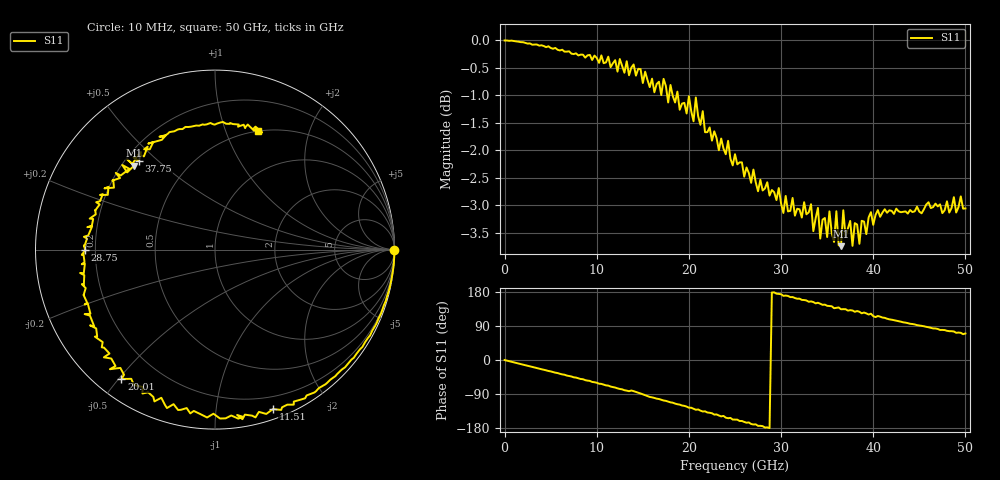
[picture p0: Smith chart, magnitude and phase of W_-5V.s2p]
!Agilent Technologies,N5227A,US51270434,A.10.00.00
!Agilent N5227A: A.10.00.00
!Date: Friday, February 13, 2026 14:20:58
!Correction: S11(Full 1 Port(1))
!S21(Off)
!S12(Off)
!S22(Off)
!S2P File: Measurements: S11, S21, S12, S22:
# Hz S  dB  R 50
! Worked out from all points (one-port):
!   201 points, 10 MHz to 50 GHz, reference 50 ohm
!   lowest |S11| = -3.7 dB at 36.5 GHz (marker M1), VSWR 4.71, Z = 12.4 + j20.2 ohm
!   |S11| at or under -10 dB: nowhere
!   S11 on the Smith chart (normalised r, x): 10 MHz: open; 11.51 GHz: 0.09, -1.42; 20.01 GHz: 0.07, -0.51; 28.75 GHz: 0.16, -0.00; 37.75 GHz: 0.25, +0.43; 50 GHz: 0.50, +1.30
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1e7  -0.00 -0.0  -200.00 45.0  -200.00 45.0  -200.00 45.0
4.0092e9  -0.09 -24.3  -200.00 45.0  -200.00 45.0  -200.00 45.0
8.5083e9  -0.26 -50.7  -200.00 45.0  -200.00 45.0  -200.00 45.0
1.15077e10  -0.49 -70.0  -200.00 45.0  -200.00 45.0  -200.00 45.0
1.35073e10  -0.64 -82.4  -200.00 45.0  -200.00 45.0  -200.00 45.0
1.375725e10  -0.50 -80.5  -200.00 45.0  -200.00 45.0  -200.00 45.0
1.675665e10  -0.75 -103.0  -200.00 45.0  -200.00 45.0  -200.00 45.0
2.0006e10  -1.02 -125.9  -200.00 45.0  -200.00 45.0  -200.00 45.0
2.5005e10  -2.07 -157.1  -200.00 45.0  -200.00 45.0  -200.00 45.0
2.875425e10  -2.82 -179.8  -200.00 45.0  -200.00 45.0  -200.00 45.0
3.125375e10  -2.86 166.1  -200.00 45.0  -200.00 45.0  -200.00 45.0
3.35033e10  -3.47 152.9  -200.00 45.0  -200.00 45.0  -200.00 45.0
3.40032e10  -3.05 151.0  -200.00 45.0  -200.00 45.0  -200.00 45.0
3.65027e10  -3.74 133.9  -200.00 45.0  -200.00 45.0  -200.00 45.0
3.675265e10  -3.09 134.2  -200.00 45.0  -200.00 45.0  -200.00 45.0
3.775245e10  -3.74 130.7  -200.00 45.0  -200.00 45.0  -200.00 45.0
3.975205e10  -3.12 122.2  -200.00 45.0  -200.00 45.0  -200.00 45.0
4.025195e10  -3.17 113.2  -200.00 45.0  -200.00 45.0  -200.00 45.0
4.05019e10  -3.09 116.2  -200.00 45.0  -200.00 45.0  -200.00 45.0
4.175165e10  -3.09 107.2  -200.00 45.0  -200.00 45.0  -200.00 45.0
4.60008e10  -2.94 86.4  -200.00 45.0  -200.00 45.0  -200.00 45.0
5e10  -3.06 70.0  -200.00 45.0  -200.00 45.0  -200.00 45.0
